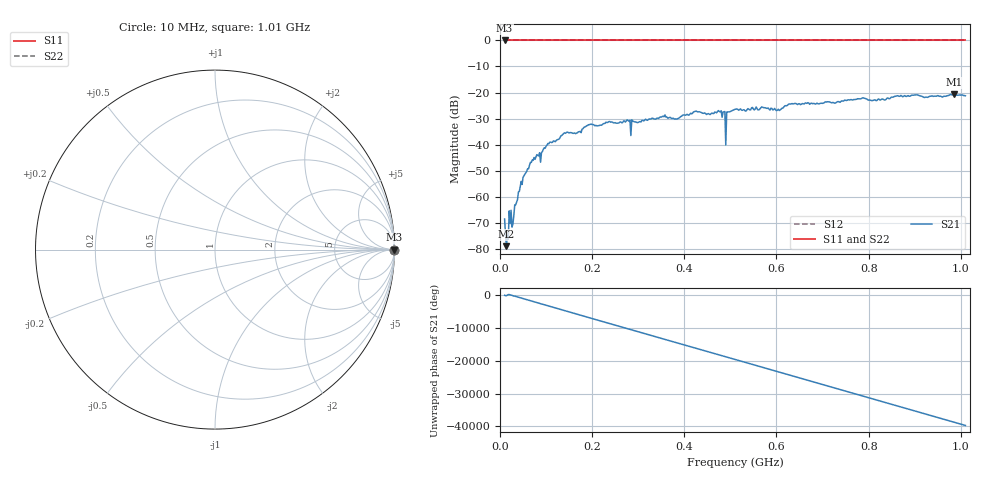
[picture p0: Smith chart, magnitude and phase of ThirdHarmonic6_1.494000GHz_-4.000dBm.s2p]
! 8/16/2025 5:30:59 PM
! C:\ANRITSUVNA\TEMP\TEMP.S2P
! CHANNEL.1
! TR.MEASUREMENT
! RAW.DATA
! RF.CORRECTION.OFF
! AVERAGING.OFF
! IF.BANDWIDTH: 5KHZ
! SWEEPTYPE:  FREQ.SWEEP(Linear)
! Reference Plane Port Info
! PORT:  PORT1  PORT2
! DISTANCE:  0  m  0  m
! TIME:  0  s  0  s
! PHASE.OFFSET:  0  deg.  0  deg.
! LOSS:  0  dB  0  dB
! REF.LOSS:  0  dB  0  dB
! REF.FREQ:  0  Hz  0  Hz
! Power Info
! POWER:  -20  dBm  -20  dBm
! EFF.POWER:  -20  dBm  -20  dBm
! SOURCE.ATTEN:  0  dB  0  dB
! TEST.ATTEN:  0  dB  0  dB
# GHZ S RI R 50.0
! FREQ.GHZ  S11RE  S11IM  S21RE  S21IM  S12RE  S12IM  S22RE  S22IM
!; PortSelection: Port_12
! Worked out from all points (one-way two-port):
!   501 points, 10 MHz to 1.01 GHz, reference 50 ohm
!   highest |S21| = -20.73 dB at 986 MHz (marker M1); lowest = -79.0 dB at 14 MHz (marker M2)
!   lowest |S11| = 0.0 dB at 10 MHz (marker M3)
!   |S11| at or under -10 dB: nowhere
!   |S22| runs from 0.0 to 0.0 dB; largest |S21 - S12| = 1.1
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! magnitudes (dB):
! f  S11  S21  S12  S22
! 10 MHz  0.0  -68.6  0.0  0.0
! 14 MHz  0.0  -79.0  0.0  0.0
! 20 MHz  0.0  -65.5  0.0  0.0
! 30 MHz  0.0  -67.3  0.0  0.0
! 48 MHz  0.0  -55.3  0.0  0.0
! 70 MHz  0.0  -45.9  0.0  0.0
! 136 MHz  0.0  -36.1  0.0  0.0
! 178 MHz  0.0  -34.1  0.0  0.0
! 196 MHz  0.0  -32.2  0.0  0.0
! 288 MHz  0.0  -30.9  0.0  0.0
! 344 MHz  0.0  -30.0  0.0  0.0
! 476 MHz  0.0  -27.3  0.0  0.0
! 484 MHz  0.0  -27.5  0.0  0.0
! 486 MHz  0.0  -27.4  0.0  0.0
! 496 MHz  0.0  -27.5  0.0  0.0
! 510 MHz  0.0  -26.4  0.0  0.0
! 604 MHz  0.0  -26.4  0.0  0.0
! 630 MHz  0.0  -24.4  0.0  0.0
! 678 MHz  0.0  -24.3  0.0  0.0
! 844 MHz  0.0  -22.4  0.0  0.0
! 986 MHz  0.0  -20.7  0.0  0.0
! 1.01 GHz  0.0  -21.3  0.0  0.0
